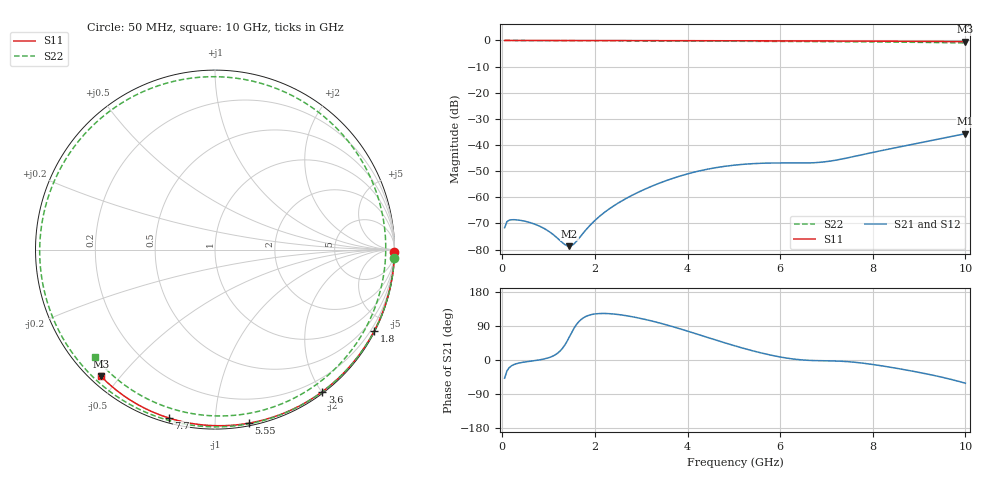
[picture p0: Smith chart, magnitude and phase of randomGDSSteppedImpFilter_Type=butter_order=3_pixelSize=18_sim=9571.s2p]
! freq	dB(S11)	phase(S11)	dB(S12)	phase(S12)
!  dB(S21)	phase(S21)	dB(S22)	phase(S22)
!S-par simulation data
#  GHz  S  DB  R 50
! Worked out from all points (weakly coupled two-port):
!   200 points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, 50 MHz to 10 GHz, reference 50 ohm
!   highest |S21| = -35.64 dB at 10 GHz (marker M1); lowest = -78.7 dB at 1.45 GHz (marker M2)
!   lowest |S11| = -0.4 dB at 10 GHz (marker M3), VSWR 38.69, Z = 1.55 - j22.3 ohm
!   |S11| at or under -10 dB: nowhere
!   |S22| runs from -0.9 to 0.0 dB; largest |S21 - S12| = 0
!   S11 on the Smith chart (normalised r, x): 50 MHz: open; 1.8 GHz: 0.04, -4.16; 3.6 GHz: 0.02, -2.01; 5.55 GHz: 0.02, -1.21; 7.7 GHz: 0.02, -0.76; 10 GHz: 0.03, -0.45
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0.05  -0.00 -0.8  -71.61 -48.0  -71.61 -48.0  -0.00 -2.8
0.15  -0.00 -2.3  -68.74 -20.1  -68.74 -20.1  -0.00 -8.3
0.6  -0.01 -9.1  -69.66 -3.3  -69.66 -3.3  -0.04 -33.0
1.05  -0.02 -15.9  -73.58 8.1  -73.58 8.1  -0.07 -56.9
1.45  -0.03 -21.9  -78.68 61.4  -78.68 61.4  -0.09 -77.5
1.75  -0.03 -26.3  -73.61 111.2  -73.61 111.2  -0.11 -92.6
1.8  -0.03 -27.0  -72.55 114.6  -72.55 114.6  -0.11 -95.1
2.15  -0.04 -32.2  -66.54 122.8  -66.54 122.8  -0.13 -112.2
2.65  -0.05 -39.4  -60.66 117.5  -60.66 117.5  -0.15 -136.0
3.4  -0.07 -50.1  -54.52 97.6  -54.52 97.6  -0.19 -171.6
3.6  -0.07 -52.9  -53.23 90.8  -53.23 90.8  -0.21 178.7
4.3  -0.09 -62.5  -49.72 64.7  -49.72 64.7  -0.25 143.8
4.7  -0.10 -67.8  -48.40 49.3  -48.40 49.3  -0.28 122.6
5.05  -0.11 -72.5  -47.62 36.4  -47.62 36.4  -0.31 103.3
5.55  -0.13 -79.0  -47.00 19.9  -47.00 19.9  -0.34 74.6
6.15  -0.15 -86.6  -46.86 4.9  -46.86 4.9  -0.38 39.2
6.7  -0.18 -93.4  -46.79 -1.4  -46.79 -1.4  -0.42 7.2
7.15  -0.21 -98.9  -45.95 -2.5  -45.95 -2.5  -0.46 -17.5
7.7  -0.24 -105.4  -43.97 -7.1  -43.97 -7.1  -0.51 -45.5
8.35  -0.29 -113.1  -41.53 -18.5  -41.53 -18.5  -0.60 -75.1
9.1  -0.35 -121.7  -38.88 -35.1  -38.88 -35.1  -0.74 -105.4
10  -0.45 -131.9  -35.64 -61.3  -35.64 -61.3  -0.94 -138.0
